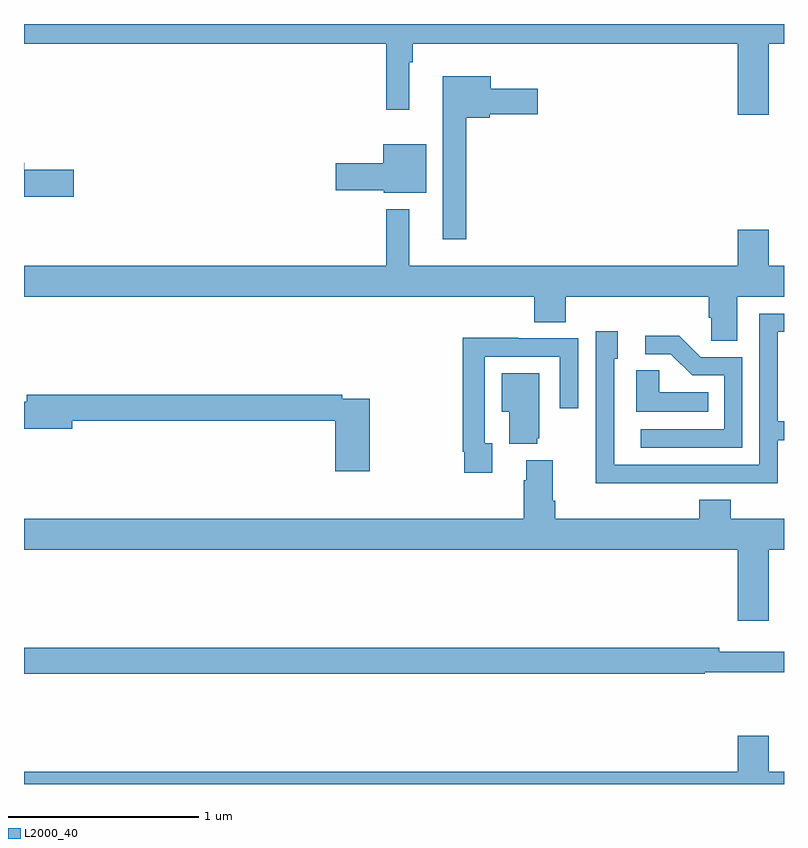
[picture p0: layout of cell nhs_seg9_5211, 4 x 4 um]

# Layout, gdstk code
import gdstk
lib = gdstk.Library(unit=1e-6, precision=1e-09)
def P(c, l, *ps):  # polygons
    for p in ps: c.add(gdstk.Polygon(p, *l))
L2000_40 = (2000, 40)

nhs_seg9_5211 = lib.new_cell('nhs_seg9_5211')
P(nhs_seg9_5211, L2000_40, [(416.92,1220.396),(417,1220.396),(417,1220.5),(413,1220.5),(413,1220.396),(414.906,1220.396),(414.906,1220.049),(415.027,1220.049),(415.027,1220.3),(415.045,1220.3),(415.045,1220.396),(416.756,1220.396),(416.756,1220.022),(416.92,1220.022)],
  [(415.327,1220.006),(415.452,1220.006),(415.452,1220.024),(415.705,1220.024),(415.705,1220.158),(415.456,1220.158),(415.456,1220.224),(415.205,1220.224),(415.205,1219.368),(415.327,1219.368)],
  [(415.117,1219.867),(414.89,1219.867),(414.89,1219.766),(414.642,1219.766),(414.642,1219.624),(414.894,1219.624),(414.894,1219.613),(415.117,1219.613)],
  [(413.263,1219.733),(413.002,1219.733),(413.002,1219.769),(413,1219.769),(413,1219.591),(413.263,1219.591)],
  [(416.755,1219.064),(417,1219.064),(417,1219.228),(416.92,1219.228),(416.92,1219.417),(416.756,1219.417),(416.756,1219.228),(415.027,1219.228),(415.027,1219.525),(414.906,1219.525),(414.906,1219.228),(413,1219.228),(413,1219.064),(415.685,1219.064),(415.685,1218.931),(415.85,1218.931),(415.85,1219.064),(416.603,1219.064),(416.603,1218.955),(416.616,1218.955),(416.616,1218.832),(416.755,1218.832)],
  [(416.471,1218.084),(416.967,1218.084),(416.967,1218.309),(417,1218.309),(417,1218.41),(416.967,1218.41),(416.967,1218.879),(417,1218.879),(417,1218.975),(416.871,1218.975),(416.871,1218.18),(416.106,1218.18),(416.106,1218.738),(416.125,1218.738),(416.125,1218.883),(416.01,1218.883),(416.01,1218.389),(416.008,1218.389),(416.008,1218.083),(416.471,1218.083)],
  [(416.781,1218.747),(416.562,1218.747),(416.449,1218.86),(416.271,1218.86),(416.271,1218.762),(416.405,1218.762),(416.516,1218.651),(416.685,1218.651),(416.685,1218.366),(416.247,1218.366),(416.247,1218.27),(416.781,1218.27)],
  [(415.465,1218.294),(415.425,1218.294),(415.425,1218.75),(415.821,1218.75),(415.821,1218.477),(415.917,1218.477),(415.917,1218.846),(415.601,1218.846),(415.601,1218.848),(415.309,1218.848),(415.309,1218.25),(415.317,1218.25),(415.317,1218.138),(415.465,1218.138)],
  [(416.6,1218.562),(416.343,1218.562),(416.343,1218.677),(416.222,1218.677),(416.222,1218.458),(416.6,1218.458)],
  [(415.7,1218.321),(415.711,1218.321),(415.711,1218.661),(415.514,1218.661),(415.514,1218.458),(415.553,1218.458),(415.553,1218.29),(415.7,1218.29)],
  [(414.821,1218.528),(414.674,1218.528),(414.674,1218.548),(413.015,1218.548),(413.015,1218.512),(413,1218.512),(413,1218.37),(413.254,1218.37),(413.254,1218.412),(414.638,1218.412),(414.638,1218.147),(414.821,1218.147)],
  [(416.92,1217.732),(417,1217.732),(417,1217.896),(416.72,1217.896),(416.72,1217.995),(416.555,1217.995),(416.555,1217.896),(415.796,1217.896),(415.796,1217.992),(415.783,1217.992),(415.783,1218.205),(415.643,1218.205),(415.643,1218.098),(415.631,1218.098),(415.631,1217.896),(413,1217.896),(413,1217.732),(416.756,1217.732),(416.756,1217.358),(416.92,1217.358)],
  [(416.582,1217.088),(417,1217.088),(417,1217.197),(416.66,1217.197),(416.66,1217.216),(413,1217.216),(413,1217.08),(416.582,1217.08)],
  [(417,1216.564),(416.92,1216.564),(416.92,1216.753),(416.756,1216.753),(416.756,1216.564),(413,1216.564),(413,1216.5),(417,1216.5)])

lib.write_gds('nhs_seg9_5211.gds')
